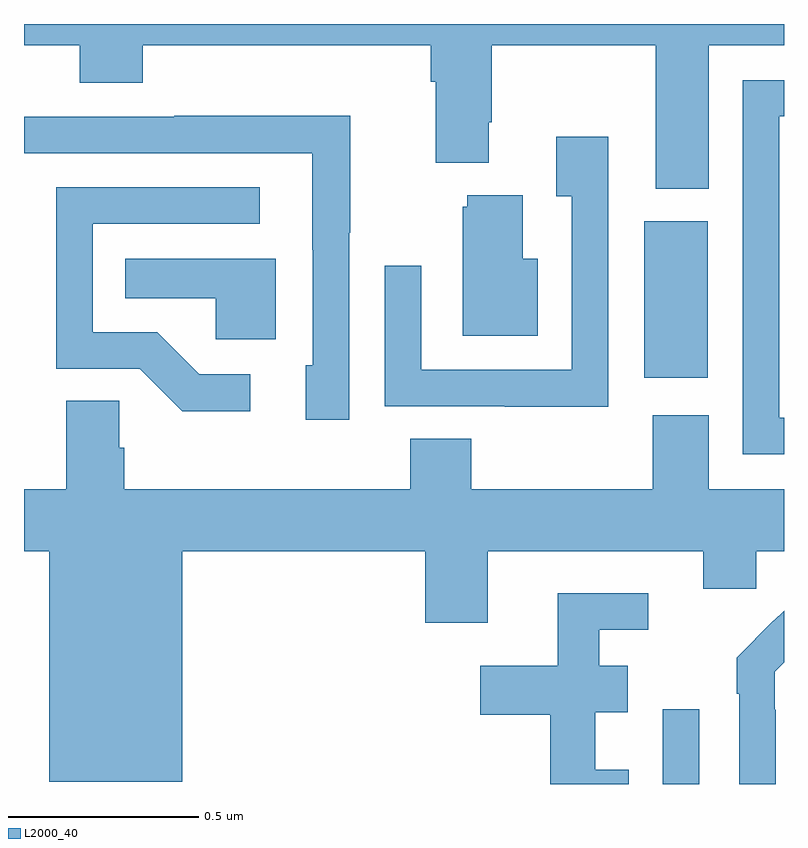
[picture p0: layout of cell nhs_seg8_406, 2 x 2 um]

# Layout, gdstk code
import gdstk
lib = gdstk.Library(unit=1e-6, precision=1e-09)
def R(c, l, rs):  # rectangles x0, y0, x1, y1
    for r in rs: c.add(gdstk.rectangle(r[:2], r[2:], *l))
def P(c, l, *ps):  # polygons
    for p in ps: c.add(gdstk.Polygon(p, *l))
L2000_40 = (2000, 40)

nhs_seg8_406 = lib.new_cell('nhs_seg8_406')
R(nhs_seg8_406, L2000_40, [(117.681,1103.9,117.777,1104.097), (117.632,1104.969,117.799,1105.381)])
P(nhs_seg8_406, L2000_40, [(117.802,1105.844),(118,1105.844),(118,1105.9),(116,1105.9),(116,1105.844),(116.147,1105.844),(116.147,1105.745),(116.312,1105.745),(116.312,1105.844),(117.071,1105.844),(117.071,1105.748),(117.083,1105.748),(117.083,1105.535),(117.223,1105.535),(117.223,1105.642),(117.231,1105.642),(117.231,1105.844),(117.662,1105.844),(117.662,1105.466),(117.802,1105.466)],
  [(118,1104.864),(117.987,1104.864),(117.987,1105.657),(118,1105.657),(118,1105.752),(117.891,1105.752),(117.891,1104.768),(118,1104.768)],
  [(116.856,1105.351),(116.859,1105.351),(116.859,1105.658),(116.395,1105.658),(116.395,1105.656),(116,1105.656),(116,1105.56),(116.759,1105.56),(116.759,1105.306),(116.76,1105.306),(116.76,1105.002),(116.741,1105.002),(116.741,1104.858),(116.856,1104.858)],
  [(117.537,1105.603),(117.401,1105.603),(117.401,1105.447),(117.441,1105.447),(117.441,1104.99),(117.045,1104.99),(117.045,1105.264),(116.949,1105.264),(116.949,1104.894),(117.265,1104.894),(117.265,1104.893),(117.537,1104.893)],
  [(116.596,1104.978),(116.461,1104.978),(116.35,1105.089),(116.181,1105.089),(116.181,1105.374),(116.62,1105.374),(116.62,1105.47),(116.085,1105.47),(116.085,1104.993),(116.304,1104.993),(116.417,1104.881),(116.596,1104.881)],
  [(117.352,1105.282),(117.313,1105.282),(117.313,1105.45),(117.167,1105.45),(117.167,1105.419),(117.155,1105.419),(117.155,1105.079),(117.352,1105.079)],
  [(116.662,1105.282),(116.266,1105.282),(116.266,1105.178),(116.505,1105.178),(116.505,1105.07),(116.662,1105.07)],
  [(116.416,1104.512),(117.056,1104.512),(117.056,1104.324),(117.22,1104.324),(117.22,1104.512),(117.788,1104.512),(117.788,1104.414),(117.927,1104.414),(117.927,1104.512),(118,1104.512),(118,1104.676),(117.802,1104.676),(117.802,1104.871),(117.655,1104.871),(117.655,1104.676),(117.177,1104.676),(117.177,1104.809),(117.017,1104.809),(117.017,1104.676),(116.264,1104.676),(116.264,1104.785),(116.25,1104.785),(116.25,1104.908),(116.111,1104.908),(116.111,1104.676),(116,1104.676),(116,1104.512),(116.066,1104.512),(116.066,1103.906),(116.416,1103.906)],
  [(117.592,1103.938),(117.503,1103.938),(117.503,1104.089),(117.589,1104.089),(117.589,1104.211),(117.514,1104.211),(117.514,1104.306),(117.643,1104.306),(117.643,1104.402),(117.404,1104.402),(117.404,1104.211),(117.201,1104.211),(117.201,1104.082),(117.385,1104.082),(117.385,1103.9),(117.592,1103.9)],
  [(117.978,1104.095),(117.975,1104.095),(117.975,1104.195),(118,1104.22),(118,1104.356),(117.973,1104.329),(117.972,1104.33),(117.875,1104.232),(117.875,1104.137),(117.882,1104.137),(117.882,1103.9),(117.978,1103.9)])

lib.write_gds('nhs_seg8_406.gds')
